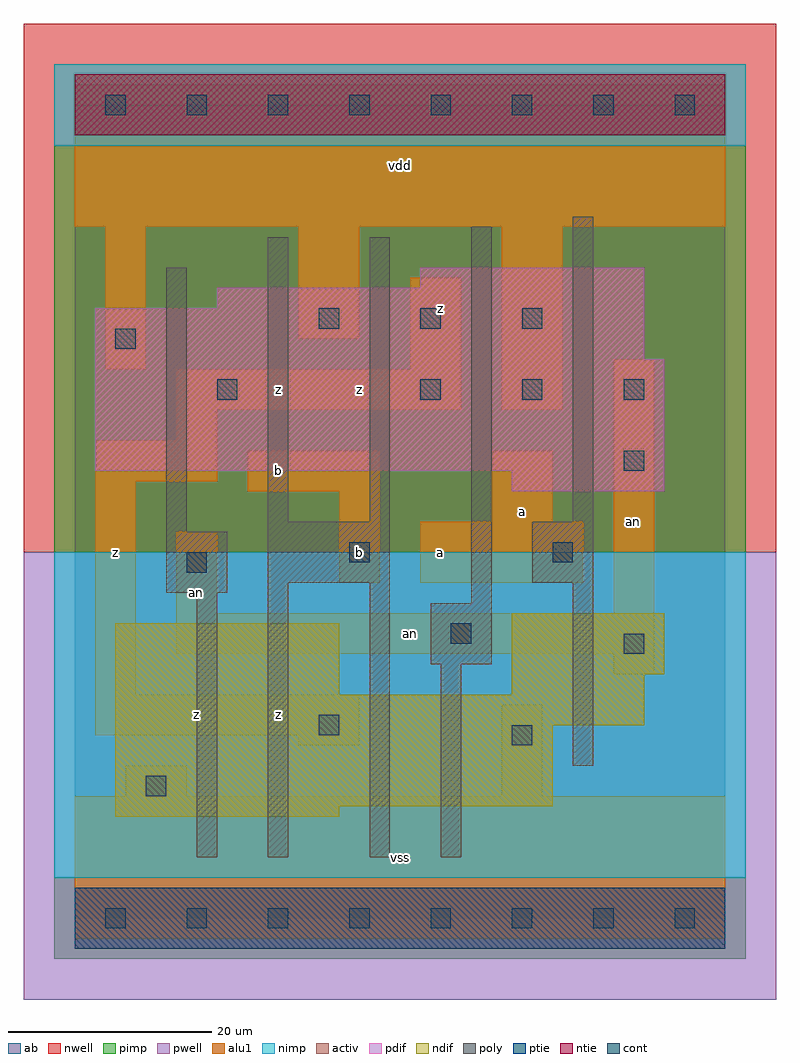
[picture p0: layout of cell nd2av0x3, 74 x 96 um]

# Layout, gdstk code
import gdstk
lib = gdstk.Library(unit=1e-6, precision=1e-09)
def R(c, l, rs):  # rectangles x0, y0, x1, y1
    for r in rs: c.add(gdstk.rectangle(r[:2], r[2:], *l))
def A(c, l, x, y, w, h, nx, ny, dx, dy):  # array of equal rectangles
    R(c, l, [(x+i*dx, y+j*dy, x+i*dx+w, y+j*dy+h) for i in range(nx) for j in range(ny)])
ndif = (3, 0)
pdif = (4, 0)
ntie = (5, 0)
ptie = (6, 0)
cont = (25, 0)
pwell = (41, 0)
nwell = (42, 0)
activ = (43, 0)
pimp = (44, 0)
nimp = (45, 0)
poly = (46, 0)
alu1 = (49, 0)
ab = (63, 0)

nd2av0x3 = lib.new_cell('nd2av0x3')
R(nd2av0x3, ndif, [(4,10,26,11), (4,11,47,19), (4,19,56,22), (4,22,26,29), (43,22,56,24), (43,24,58,30)])
R(nd2av0x3, pdif, [(43,42,58,44), (2,44,58,55), (2,55,56,60), (14,60,56,62), (34,62,56,64)])
R(nd2av0x3, ntie, [(0,77,64,83)])
R(nd2av0x3, ptie, [(0,-3,64,3)])
A(nd2av0x3, cont, 3, -1, 2, 2, 8, 2, 8, 80)
A(nd2av0x3, cont, 34, 51, 2, 2, 3, 1, 10, 0)
A(nd2av0x3, cont, 24, 58, 2, 2, 3, 1, 10, 0)
R(nd2av0x3, cont, [(7,12,9,14), (43,17,45,19), (24,18,26,20), (54,26,56,28), (37,27,39,29), (11,34,13,36), (27,35,29,37), (47,35,49,37), (54,44,56,46), (14,51,16,53), (4,56,6,58)])
R(nd2av0x3, pwell, [(-5,-8,69,36)])
R(nd2av0x3, nwell, [(-5,36,69,88)])
R(nd2av0x3, activ, [(0,-3,64,3), (4,10,26,11), (4,11,47,19), (4,19,56,22), (4,22,26,29), (43,22,56,24), (43,24,58,30), (43,42,58,44), (2,44,58,55), (2,55,56,60), (14,60,56,62), (34,62,56,64), (0,77,64,83)])
R(nd2av0x3, pimp, [(-2,-4,66,4), (-2,36,66,76)])
R(nd2av0x3, nimp, [(-2,4,66,36), (-2,76,66,84)])
R(nd2av0x3, poly, [(12,6,14,32), (19,6,21,33), (29,6,31,33), (36,6,38,25), (49,15,51,33), (35,25,41,31), (39,31,41,68), (9,32,15,38), (19,33,31,39), (45,33,51,39), (9,38,11,64), (19,39,21,67), (29,39,31,67), (49,39,51,69)])
R(nd2av0x3, alu1, [(0,-2,64,12), (5,12,11,15), (42,12,46,21), (22,17,28,18), (2,18,28,22), (2,22,6,43), (53,24,57,26), (10,26,57,30), (10,30,14,38), (53,30,57,55), (26,33,30,42), (34,33,50,39), (41,39,47,46), (17,42,30,46), (2,43,14,47), (10,47,14,50), (10,50,38,54), (42,50,48,68), (3,54,7,68), (33,54,38,63), (22,57,28,68), (0,68,64,82)])
R(nd2av0x3, ab, [(0,0,64,80)])
nd2av0x3.add(gdstk.Label('an', (12,32), layer=49, texttype=0))
nd2av0x3.add(gdstk.Label('an', (33,28), layer=49, texttype=0))
nd2av0x3.add(gdstk.Label('an', (55,39), layer=49, texttype=0))
nd2av0x3.add(gdstk.Label('z', (12,20), layer=49, texttype=0))
nd2av0x3.add(gdstk.Label('z', (4,36), layer=49, texttype=0))
nd2av0x3.add(gdstk.Label('z', (20,20), layer=49, texttype=0))
nd2av0x3.add(gdstk.Label('b', (28,36), layer=49, texttype=0))
nd2av0x3.add(gdstk.Label('b', (20,44), layer=49, texttype=0))
nd2av0x3.add(gdstk.Label('z', (20,52), layer=49, texttype=0))
nd2av0x3.add(gdstk.Label('z', (28,52), layer=49, texttype=0))
nd2av0x3.add(gdstk.Label('vss', (32,6), layer=49, texttype=0))
nd2av0x3.add(gdstk.Label('a', (36,36), layer=49, texttype=0))
nd2av0x3.add(gdstk.Label('a', (44,40), layer=49, texttype=0))
nd2av0x3.add(gdstk.Label('z', (36,60), layer=49, texttype=0))
nd2av0x3.add(gdstk.Label('vdd', (32,74), layer=49, texttype=0))

lib.write_gds('nd2av0x3.gds')
